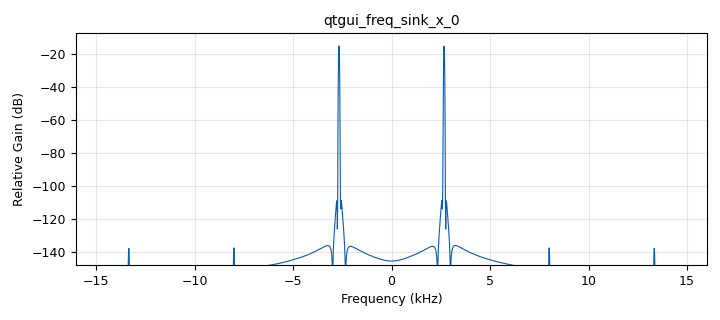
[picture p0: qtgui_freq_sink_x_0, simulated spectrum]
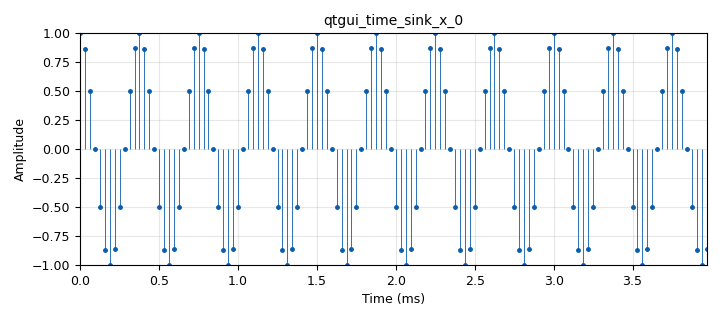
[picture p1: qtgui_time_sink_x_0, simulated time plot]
options:
  parameters:
    author: Barry Duggan
    copyright: '2020'
    description: sample Rate demo
    generate_options: qt_gui
    id: practica1
    output_language: python
    title: sample Rate demo
  states: {}

blocks:
- name: freq
  id: variable_qtgui_range
  parameters:
    label: Frequency
    start: '1000'
    step: '1000'
    stop: '40000'
    value: samp_rate/12
  states: {}
- name: samp_rate
  id: variable
  parameters:
    value: 32e3
  states: {}
- name: analog_sig_source_x_0
  id: analog_sig_source_x
  parameters:
    amp: '1'
    freq: freq
    offset: '0'
    phase: '0'
    samp_rate: samp_rate
    type: float
    waveform: analog.GR_COS_WAVE
  states: {}
- name: blocks_throttle_0
  id: blocks_throttle
  parameters:
    samples_per_second: samp_rate
    type: float
  states: {}
- name: qtgui_freq_sink_x_0
  id: qtgui_freq_sink_x
  parameters:
    autoscale: 'True'
    average: '0.05'
    bw: '32000'
    fc: '0'
    fftsize: '2048'
    type: float
  states: {}
- name: qtgui_time_sink_x_0
  id: qtgui_time_sink_x
  parameters:
    marker1: '0'
    size: '128'
    srate: samp_rate
    stemplot: 'True'
    type: float
  states: {}

connections:
- [analog_sig_source_x_0, '0', blocks_throttle_0, '0']
- [blocks_throttle_0, '0', qtgui_freq_sink_x_0, '0']
- [blocks_throttle_0, '0', qtgui_time_sink_x_0, '0']

metadata:
  file_format: 1
